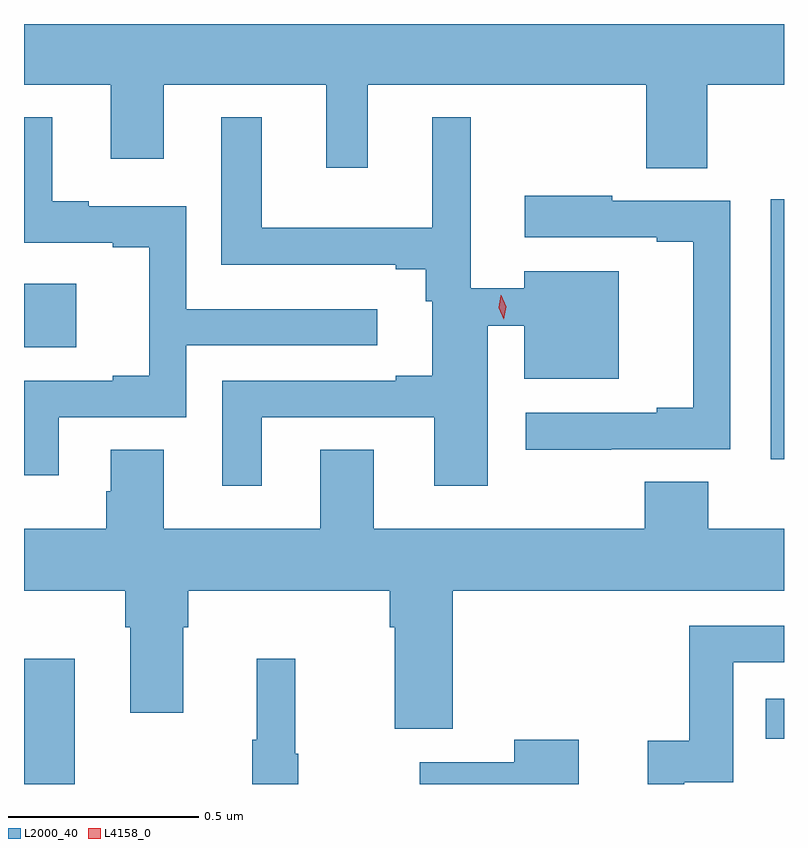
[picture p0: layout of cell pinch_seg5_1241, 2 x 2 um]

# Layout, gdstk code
import gdstk
lib = gdstk.Library(unit=1e-6, precision=1e-09)
def R(c, l, rs):  # rectangles x0, y0, x1, y1
    for r in rs: c.add(gdstk.rectangle(r[:2], r[2:], *l))
def P(c, l, *ps):  # polygons
    for p in ps: c.add(gdstk.Polygon(p, *l))
L2000_40 = (2000, 40)
L4158_0 = (4158, 0)

pinch_seg5_1241 = lib.new_cell('pinch_seg5_1241')
R(pinch_seg5_1241, L2000_40, [(537.224,896.212,537.358,896.542), (539.176,896.331,539.224,896.437), (539.189,897.066,539.224,897.751), (537.224,897.362,537.361,897.529)])
P(pinch_seg5_1241, L2000_40, [(539.022,898.052),(539.224,898.052),(539.224,898.212),(537.224,898.212),(537.224,898.052),(537.452,898.052),(537.452,897.858),(537.592,897.858),(537.592,898.052),(538.019,898.052),(538.019,897.834),(538.129,897.834),(538.129,898.052),(538.861,898.052),(538.861,897.832),(539.022,897.832)],
  [(537.316,897.177),(537.651,897.177),(537.651,897.366),(538.153,897.366),(538.153,897.462),(537.651,897.462),(537.651,897.732),(537.394,897.732),(537.394,897.745),(537.298,897.745),(537.298,897.967),(537.224,897.967),(537.224,897.636),(537.458,897.636),(537.458,897.624),(537.554,897.624),(537.554,897.286),(537.458,897.286),(537.458,897.273),(537.224,897.273),(537.224,897.024),(537.316,897.024)],
  [(537.85,897.177),(538.304,897.177),(538.304,896.997),(538.444,896.997),(538.444,897.418),(538.541,897.418),(538.541,897.278),(538.789,897.278),(538.789,897.562),(538.541,897.562),(538.541,897.517),(538.399,897.517),(538.399,897.967),(538.298,897.967),(538.298,897.676),(537.85,897.676),(537.85,897.967),(537.743,897.967),(537.743,897.579),(538.202,897.579),(538.202,897.567),(538.281,897.567),(538.281,897.482),(538.298,897.482),(538.298,897.286),(538.202,897.286),(538.202,897.273),(537.746,897.273),(537.746,896.997),(537.85,896.997)],
  [(538.769,897.093),(539.082,897.093),(539.082,897.747),(538.772,897.747),(538.772,897.76),(538.542,897.76),(538.542,897.651),(538.889,897.651),(538.889,897.639),(538.985,897.639),(538.985,897.202),(538.889,897.202),(538.889,897.189),(538.545,897.189),(538.545,897.092),(538.769,897.092)],
  [(538.352,896.72),(539.224,896.72),(539.224,896.884),(539.025,896.884),(539.025,897.008),(538.858,897.008),(538.858,896.884),(538.144,896.884),(538.144,897.092),(538.004,897.092),(538.004,896.884),(537.592,896.884),(537.592,897.092),(537.452,897.092),(537.452,896.982),(537.44,896.982),(537.44,896.884),(537.224,896.884),(537.224,896.72),(537.491,896.72),(537.491,896.624),(537.503,896.624),(537.503,896.4),(537.643,896.4),(537.643,896.624),(537.656,896.624),(537.656,896.72),(538.187,896.72),(538.187,896.624),(538.199,896.624),(538.199,896.358),(538.352,896.358)],
  [(538.962,896.217),(539.091,896.217),(539.091,896.532),(539.224,896.532),(539.224,896.628),(538.975,896.628),(538.975,896.326),(538.865,896.326),(538.865,896.212),(538.962,896.212)],
  [(537.946,896.292),(537.938,896.292),(537.938,896.542),(537.836,896.542),(537.836,896.329),(537.825,896.329),(537.825,896.212),(537.946,896.212)],
  [(538.684,896.329),(538.514,896.329),(538.514,896.269),(538.265,896.269),(538.265,896.212),(538.684,896.212)])
P(pinch_seg5_1241, L4158_0, [(538.487,897.435),(538.487,897.435),(538.473,897.465),(538.479,897.498),(538.479,897.498),(538.48,897.498),(538.493,897.468),(538.487,897.435)])

lib.write_gds('pinch_seg5_1241.gds')
